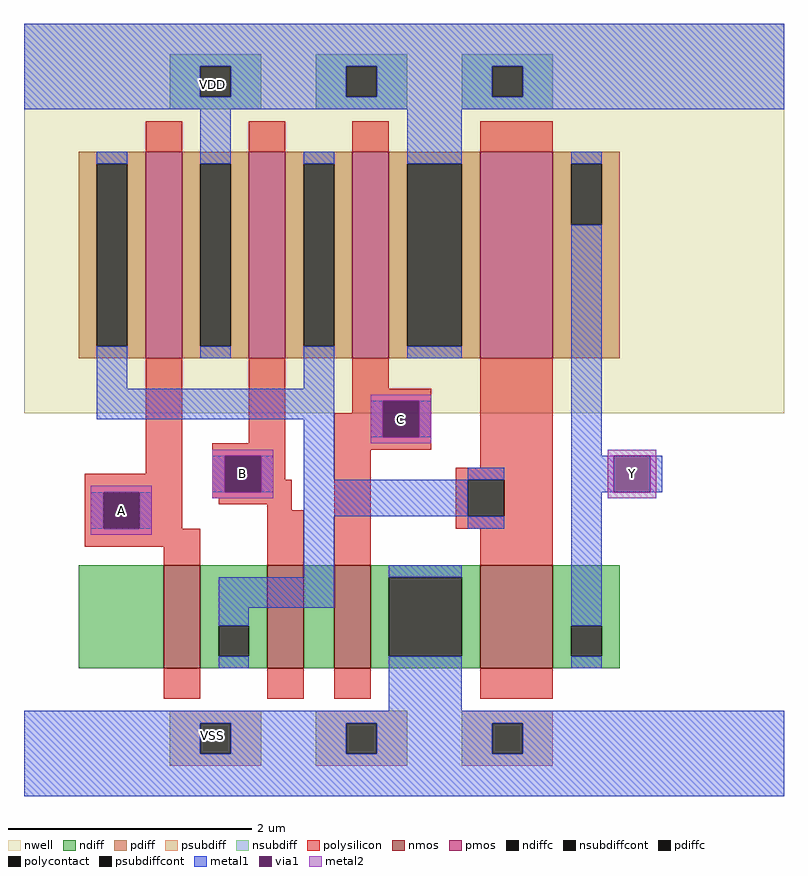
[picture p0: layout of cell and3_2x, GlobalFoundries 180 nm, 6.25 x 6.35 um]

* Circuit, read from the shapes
.subckt and3_2x A B C VDD VSS Y
XM1 n1 A n2 VSS nfet_03v3 w=0.85u l=0.3u
XM2 n3 B n1 VSS nfet_03v3 w=0.85u l=0.3u
XM3 VSS C n3 VSS nfet_03v3 w=0.85u l=0.3u
XM4 Y n1 VSS VSS nfet_03v3 w=0.85u l=0.6u
XM5 VDD A n1 VDD pfet_03v3 w=1.7u l=0.3u
XM6 n1 B VDD VDD pfet_03v3 w=1.7u l=0.3u
XM7 VDD C n1 VDD pfet_03v3 w=1.7u l=0.3u
XM8 Y n1 VDD VDD pfet_03v3 w=1.7u l=0.6u
.ends

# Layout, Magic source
magic
tech gf180mcuD
<< nwell >>
rect -18 63 107 127
<< nmos >>
rect 5 21 11 38
rect 22 21 28 38
rect 33 21 39 38
rect 57 21 69 38
<< pmos >>
rect 2 72 8 106
rect 19 72 25 106
rect 36 72 42 106
rect 57 72 69 106
<< ndiff >>
rect -9 21 5 38
rect 11 28 22 38
rect 11 23 14 28
rect 19 23 22 28
rect 11 21 22 23
rect 28 21 33 38
rect 39 36 57 38
rect 39 23 42 36
rect 54 23 57 36
rect 39 21 57 23
rect 69 28 80 38
rect 69 23 72 28
rect 77 23 80 28
rect 69 21 80 23
<< pdiff >>
rect -9 104 2 106
rect -9 74 -6 104
rect -1 74 2 104
rect -9 72 2 74
rect 8 104 19 106
rect 8 74 11 104
rect 16 74 19 104
rect 8 72 19 74
rect 25 104 36 106
rect 25 74 28 104
rect 33 74 36 104
rect 25 72 36 74
rect 42 104 57 106
rect 42 74 45 104
rect 54 74 57 104
rect 42 72 57 74
rect 69 104 80 106
rect 69 94 72 104
rect 77 94 80 104
rect 69 72 80 94
<< ndiffc >>
rect 14 23 19 28
rect 42 23 54 36
rect 72 23 77 28
<< pdiffc >>
rect -6 74 -1 104
rect 11 74 16 104
rect 28 74 33 104
rect 45 74 54 104
rect 72 94 77 104
<< psubdiff >>
rect 6 12 21 14
rect 6 7 11 12
rect 16 7 21 12
rect 6 5 21 7
rect 30 12 45 14
rect 30 7 35 12
rect 40 7 45 12
rect 30 5 45 7
rect 54 12 69 14
rect 54 7 59 12
rect 64 7 69 12
rect 54 5 69 7
<< nsubdiff >>
rect 6 120 21 122
rect 6 115 11 120
rect 16 115 21 120
rect 6 113 21 115
rect 30 120 45 122
rect 30 115 35 120
rect 40 115 45 120
rect 30 113 45 115
rect 54 120 69 122
rect 54 115 59 120
rect 64 115 69 120
rect 54 113 69 115
<< psubdiffcont >>
rect 11 7 16 12
rect 35 7 40 12
rect 59 7 64 12
<< nsubdiffcont >>
rect 11 115 16 120
rect 35 115 40 120
rect 59 115 64 120
<< polysilicon >>
rect 2 106 8 111
rect 19 106 25 111
rect 36 106 42 111
rect 57 106 69 111
rect 2 53 8 72
rect 19 58 25 72
rect 36 67 42 72
rect 36 65 49 67
rect 36 63 41 65
rect -8 50 8 53
rect -8 44 -5 50
rect 1 44 8 50
rect 13 56 25 58
rect 13 50 15 56
rect 21 52 25 56
rect 33 59 41 63
rect 47 59 49 65
rect 33 57 49 59
rect 21 50 26 52
rect 13 49 26 50
rect 14 48 26 49
rect 22 47 26 48
rect -8 41 11 44
rect 5 38 11 41
rect 22 38 28 47
rect 33 38 39 57
rect 57 54 69 72
rect 53 52 69 54
rect 53 46 55 52
rect 61 46 69 52
rect 53 44 69 46
rect 57 38 69 44
rect 5 16 11 21
rect 22 16 28 21
rect 33 16 39 21
rect 57 16 69 21
<< polycontact >>
rect -5 44 1 50
rect 15 50 21 56
rect 41 59 47 65
rect 55 46 61 52
<< metal1 >>
rect -18 120 107 127
rect -18 115 11 120
rect 16 115 35 120
rect 40 115 59 120
rect 64 115 107 120
rect -18 113 107 115
rect -6 104 -1 106
rect -6 67 -1 74
rect 11 104 16 113
rect 11 72 16 74
rect 28 104 33 106
rect 28 67 33 74
rect 45 104 54 113
rect 45 72 54 74
rect 72 104 77 106
rect -6 62 33 67
rect 13 50 15 56
rect 21 50 23 56
rect 28 52 33 62
rect 39 59 41 65
rect 47 59 49 65
rect 72 56 77 94
rect 55 52 61 54
rect -7 44 -5 50
rect 1 44 3 50
rect 28 46 55 52
rect 28 36 33 46
rect 55 44 61 46
rect 72 50 79 56
rect 85 50 87 56
rect 14 31 33 36
rect 42 36 54 38
rect 14 28 19 31
rect 14 21 19 23
rect 42 14 54 23
rect 72 28 77 50
rect 72 21 77 23
rect -18 12 107 14
rect -18 7 11 12
rect 16 7 35 12
rect 40 7 59 12
rect 64 7 107 12
rect -18 0 107 7
<< via1 >>
rect 15 50 21 56
rect 41 59 47 65
rect -5 44 1 50
rect 79 50 85 56
<< metal2 >>
rect 39 65 49 66
rect 39 59 41 65
rect 47 59 49 65
rect 39 58 49 59
rect 13 56 23 57
rect -7 50 3 51
rect -7 44 -5 50
rect 1 44 3 50
rect 13 50 15 56
rect 21 50 23 56
rect 13 49 23 50
rect 78 56 86 57
rect 78 50 79 56
rect 85 50 86 56
rect 78 49 86 50
rect -7 43 3 44
<< labels >>
rlabel nsubdiffcont 13 117 13 117 1 VDD
rlabel psubdiffcont 13 10 13 10 1 VSS
flabel psubdiffcont 11 7 16 12 0 FreeSans 16 0 0 0 VSS
flabel nsubdiffcont 11 115 16 120 0 FreeSans 16 0 0 0 VDD
flabel metal2 41 59 47 65 0 FreeSans 32 0 0 0 C
flabel via1 79 50 85 56 0 FreeSans 32 0 0 0 Y
flabel metal2 -5 44 1 50 0 FreeSans 32 0 0 0 A
flabel metal2 15 50 21 56 0 FreeSans 32 0 0 0 B
<< end >>
